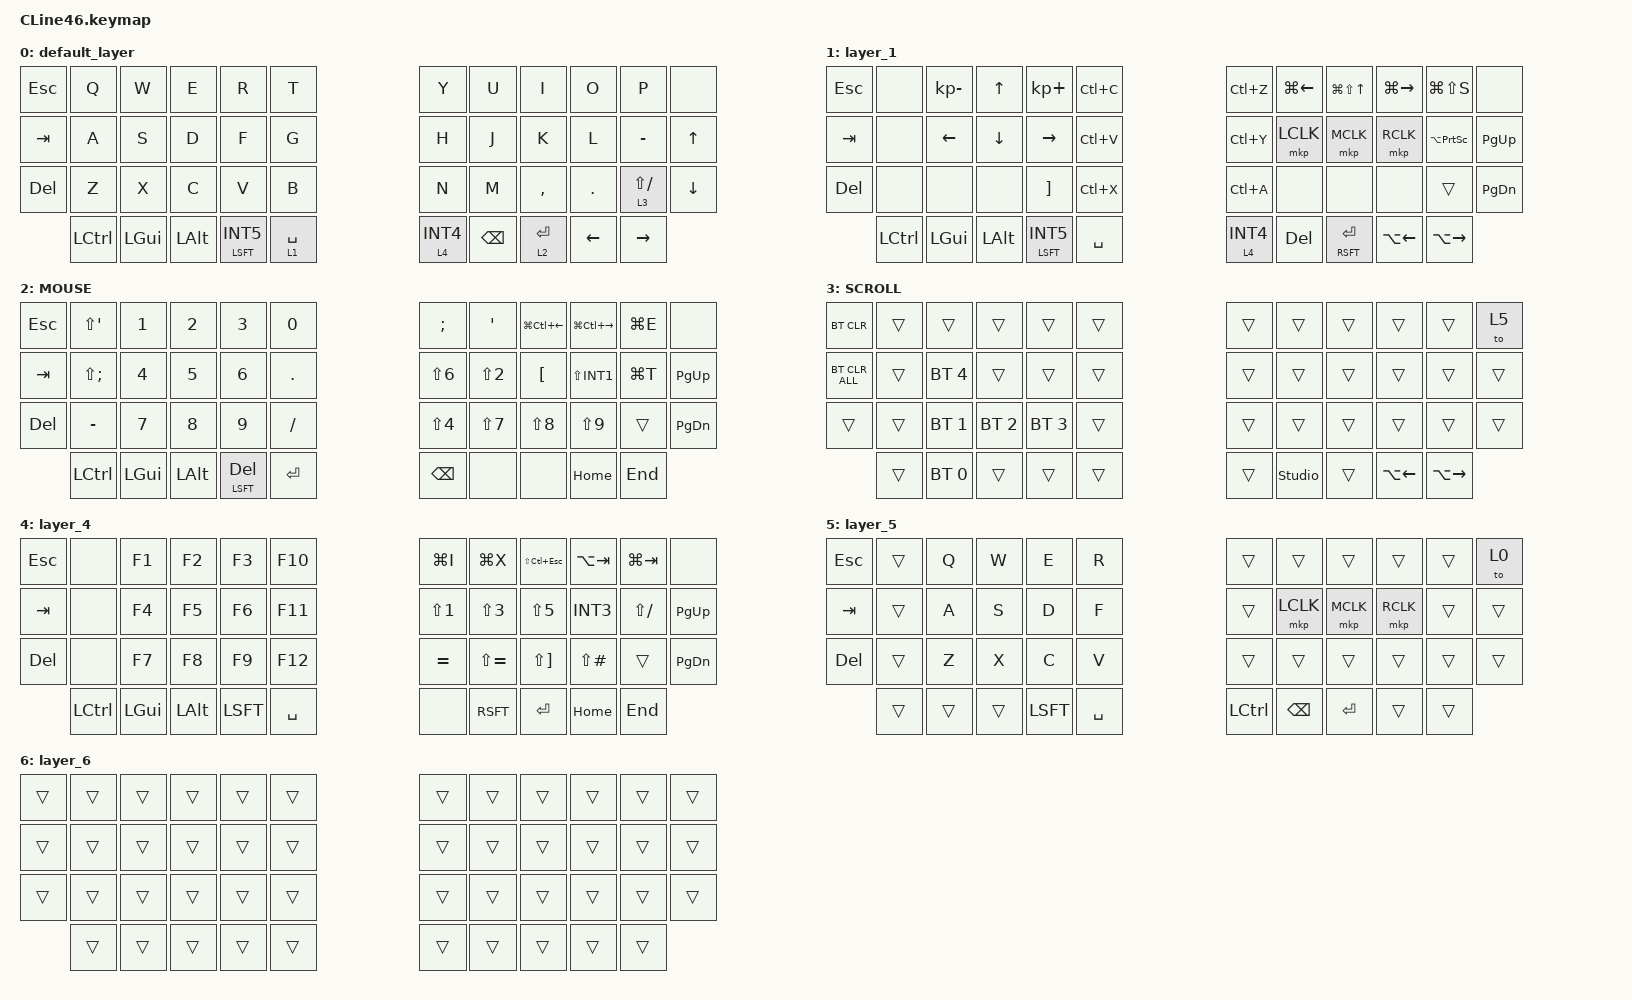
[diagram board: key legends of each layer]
#include <input/processors.dtsi>
#include <dt-bindings/zmk/input_transform.h>
#include <zephyr/dt-bindings/input/input-event-codes.h>
#include <behaviors.dtsi>
#include <dt-bindings/zmk/bt.h>
#include <dt-bindings/zmk/keys.h>
#include <dt-bindings/zmk/pointing.h>

&mt {
    flavor = "balanced";
    quick-tap-ms = <0>;
};

/ {
combos {
    compatible = "zmk,combos";

    // 19 + 20 = Left Click
    left_click {
        bindings = <&mkp LCLK>;
        key-positions = <19 20>;
    };

    // 20 + 21 = Right Click
    right_click {
        bindings = <&mkp RCLK>;
        key-positions = <20 21>;
    };

    // 19 + 21 = Middle Click
    middle_click {
        bindings = <&mkp MCLK>;
        key-positions = <19 21>;
    };

    // 20 + 31 = mo 3
    MO_3 {
        bindings = <&mo 3>;
        key-positions = <20 31>;
    };

    // 7 + 8 = Alt + Left
    alt_left {
        bindings = <&kp LA(LEFT)>;
        key-positions = <7 8>;
    };

    // 8 + 9 = Alt + Right
    alt_right {
        bindings = <&kp LA(RIGHT)>;
        key-positions = <8 9>;
    };
};

    macros {
        to_layer_0: to_layer_0 {
            compatible = "zmk,behavior-macro-one-param";
            #binding-cells = <1>;
            bindings = <&to 0 &macro_param_1to1 &kp MACRO_PLACEHOLDER>;
            label = "TO_LAYER_0";
        };
    };

    behaviors {
        lt_to_layer_0: lt_to_layer_0 {
            compatible = "zmk,behavior-hold-tap";
            label = "LAYER_TAP_TO_0";
            bindings = <&mo>, <&to_layer_0>;

            #binding-cells = <2>;
            tapping-term-ms = <200>;
        };
    };

    keymap {
        compatible = "zmk,keymap";

        default_layer {
            bindings = <
&kp ESC      &kp Q       &kp W      &kp E     &kp R           &kp T                                   &kp Y      &kp U   &kp I       &kp O       &kp P             &none
&kp TAB      &kp A       &kp S      &kp D     &kp F           &kp G                                   &kp H      &kp J   &kp K       &kp L       &kp MINUS         &kp UP
&kp DEL      &kp Z       &kp X      &kp C     &kp V           &kp B                                   &kp N      &kp M   &kp COMMA   &kp DOT     &lt 3 LS(SLASH)   &kp DOWN
             &kp LCTRL   &kp LGUI   &kp LALT  &mt LSFT INT5   &lt 1 SPACE   &lt 4 INT4     &kp BSPC   &lt 2 RET                      &kp LEFT    &kp RIGHT
            >;
        };


        layer_1 {
            bindings = <
&kp ESC     &none       &kp KP_MINUS   &kp UP    &kp KP_PLUS     &kp LC(C)                             &kp LC(Z)    &kp LG(LEFT)   &kp LG(LS(UP))   &kp LG(RIGHT)   &kp LG(LS(S))         &none
&kp TAB     &none       &kp LEFT       &kp DOWN  &kp RIGHT       &kp LC(V)                             &kp LC(Y)    &mkp LCLK      &mkp MCLK        &mkp RCLK       &kp LA(PRINTSCREEN)   &kp PG_UP
&kp DEL     &none       &none          &none     &kp RBKT        &kp LC(X)                             &kp LC(A)    &none          &none            &none           &trans                &kp PG_DN
            &kp LCTRL   &kp LGUI       &kp LALT  &mt LSFT INT5   &kp SPACE   &lt 4 INT4      &kp DEL   &mt RSFT RET                                 &kp LA(LEFT)    &kp LA(RIGHT) 
            >;
        };


        MOUSE {
            bindings = <
&kp ESC   &kp LS(SINGLE_QUOTE)   &kp NUMBER_1   &kp NUMBER_2   &kp NUMBER_3   &kp NUMBER_0                    &kp SEMI           &kp SINGLE_QUOTE   &kp LG(LC(LEFT))  &kp LG(LC(RIGHT))   &kp LG(E)   &none
&kp TAB   &kp LS(SEMI)           &kp NUMBER_4   &kp NUMBER_5   &kp NUMBER_6   &kp DOT                         &kp LS(NUMBER_6)   &kp LS(NUMBER_2)   &kp LBKT          &kp LS(INT1)        &kp LG(T)   &kp PG_UP
&kp DEL   &kp MINUS              &kp NUMBER_7   &kp NUMBER_8   &kp NUMBER_9   &kp SLASH                       &kp LS(NUMBER_4)   &kp LS(NUMBER_7)   &kp LS(NUMBER_8)  &kp LS(NUMBER_9)    &trans      &kp PG_DN
          &kp LCTRL              &kp LGUI       &kp LALT       &mt LSFT DEL   &kp RET              &kp BSPC   &none              &none                                &kp HOME            &kp END
            >;
        };


        SCROLL {
            bindings = <
&bt BT_CLR       &trans   &trans         &trans         &trans         &trans                                &trans   &trans   &trans   &trans   &trans   &to 5
&bt BT_CLR_ALL   &trans   &bt BT_SEL 4   &trans         &trans         &trans                                &trans   &trans   &trans   &trans   &trans   &trans
&trans           &trans   &bt BT_SEL 1   &bt BT_SEL 2   &bt BT_SEL 3   &trans                                &trans   &trans   &trans   &trans   &trans   &trans
                 &trans   &bt BT_SEL 0   &trans         &trans         &trans   &trans      &studio_unlock   &trans                     &kp LA(LEFT)    &kp LA(RIGHT)  
            >;
        };


        layer_4 {
            bindings = <
&kp ESC  &none       &kp F1     &kp F2     &kp F3     &kp F10                         &kp LG(I)          &kp LG(X)          &kp LS(LC(ESC))    &kp LA(TAB)   &kp LG(TAB)     &none
&kp TAB  &none       &kp F4     &kp F5     &kp F6     &kp F11                         &kp LS(NUMBER_1)   &kp LS(NUMBER_3)   &kp LS(NUMBER_5)   &kp INT3      &kp LS(SLASH)   &kp PG_UP
&kp DEL  &none       &kp F7     &kp F8     &kp F9     &kp F12                         &kp EQUAL          &kp LS(EQUAL)      &kp LS(RBKT)       &kp LS(HASH)  &trans          &kp PG_DN
         &kp LCTRL   &kp LGUI   &kp LALT   &kp LSFT   &kp SPACE   &none    &kp RSFT   &kp RET                                                  &kp HOME      &kp END
            >;
        };


        layer_5 {
            bindings = <
&kp ESC   &trans   &kp Q    &kp W    &kp E      &kp R                                 &trans   &trans      &trans      &trans      &trans   &to 0
&kp TAB   &trans   &kp A    &kp S    &kp D      &kp F                                 &trans   &mkp LCLK   &mkp MCLK   &mkp RCLK   &trans   &trans
&kp DEL   &trans   &kp Z    &kp X    &kp C      &kp V                                 &trans   &trans      &trans      &trans      &trans   &trans
          &trans   &trans   &trans   &kp LSFT   &kp SPACE   &kp LCTRL      &kp BSPC   &kp RET                          &trans      &trans       
            >;
        };


        layer_6 {
            bindings = <
&trans   &trans   &trans   &trans   &trans   &trans                        &trans   &trans   &trans   &trans   &trans   &trans
&trans   &trans   &trans   &trans   &trans   &trans                        &trans   &trans   &trans   &trans   &trans   &trans
&trans   &trans   &trans   &trans   &trans   &trans                        &trans   &trans   &trans   &trans   &trans   &trans
         &trans   &trans   &trans   &trans   &trans   &trans      &trans   &trans                     &trans   &trans 
            >;
        };
    };
};
